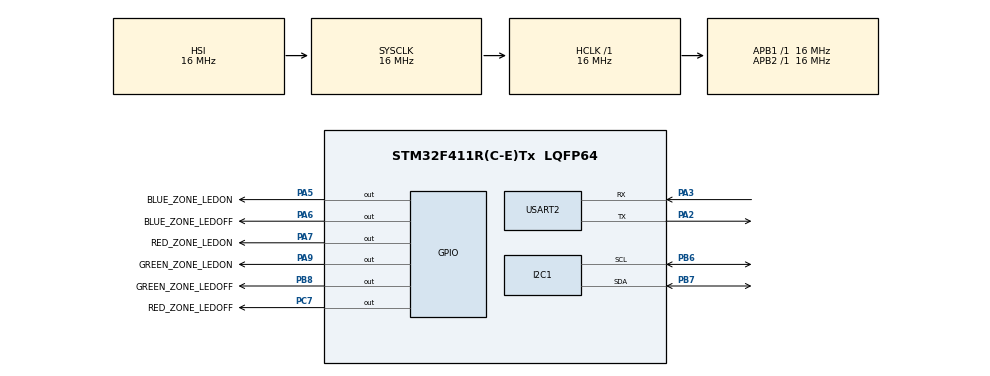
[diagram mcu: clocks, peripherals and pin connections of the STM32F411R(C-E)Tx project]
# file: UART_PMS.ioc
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I2C1.AddressingMode=I2C_ADDRESSINGMODE_7BIT
I2C1.I2C_Mode=I2C_Fast
I2C1.OwnAddress=0x0
Mcu.Family=STM32F4
Mcu.Name=STM32F411R(C-E)Tx
Mcu.Package=LQFP64
NVIC.PriorityGroup=NVIC_PRIORITYGROUP_4
NVIC.USART2_IRQn=true\:0\:0\:false\:false\:true\:true\:true\:true
PA2.Mode=Asynchronous
PA2.Signal=USART2_TX
PA3.Mode=Asynchronous
PA3.Signal=USART2_RX
PA5.GPIO_Label=BLUE_ZONE_LEDON
PA5.Signal=GPIO_Output
PA6.GPIO_Label=BLUE_ZONE_LEDOFF
PA6.Signal=GPIO_Output
PA7.GPIO_Label=RED_ZONE_LEDON
PA7.Signal=GPIO_Output
PA9.GPIO_Label=GREEN_ZONE_LEDON
PA9.Signal=GPIO_Output
PB6.GPIO_Pu=GPIO_PULLUP
PB6.Mode=I2C
PB6.Signal=I2C1_SCL
PB7.GPIO_Pu=GPIO_PULLUP
PB7.Mode=I2C
PB7.Signal=I2C1_SDA
PB8.GPIO_Label=GREEN_ZONE_LEDOFF
PB8.Signal=GPIO_Output
PC14-OSC32_IN.Signal=RCC_OSC32_IN
PC15-OSC32_OUT.Signal=RCC_OSC32_OUT
PC7.GPIO_Label=RED_ZONE_LEDOFF
PC7.Signal=GPIO_Output
PH0\ -\ OSC_IN.Signal=RCC_OSC_IN
PH1\ -\ OSC_OUT.Signal=RCC_OSC_OUT
ProjectManager.HeapSize=0x200
ProjectManager.StackSize=0x400
ProjectManager.TargetToolchain=STM32CubeIDE
RCC.AHBFreq_Value=16000000
RCC.APB1Freq_Value=16000000
RCC.APB2Freq_Value=16000000
RCC.CortexFreq_Value=16000000
RCC.HSE_VALUE=25000000
RCC.HSI_VALUE=16000000
RCC.LSE_VALUE=32768
RCC.SYSCLKFreq_VALUE=16000000
RCC.VCOOutputFreq_Value=192000000
TIM2.Period=999
TIM2.Prescaler=15999
USART2.VirtualMode=VM_ASYNC
VP_TIM2_VS_ClockSourceINT.Mode=Internal
board=custom

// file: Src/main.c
/* USER CODE BEGIN Header */
/**
 ******************************************************************************
 * @file           : main.c
 * @brief          : Main program body
 ******************************************************************************
 * @attention
 *
 * <h2><center>&copy; Copyright (c) 2024 STMicroelectronics.
 * All rights reserved.</center></h2>
 *
 * This software component is licensed by ST under BSD 3-Clause license,
 * the "License"; You may not use this file except in compliance with the
 * License. You may obtain a copy of the License at:
 *                        opensource.org/licenses/BSD-3-Clause
 *
 ******************************************************************************
 */
/* USER CODE END Header */

#include "main.h"
#include "i2c.h"
#include "tim.h"
#include "usart.h"
#include "gpio.h"

/* USER CODE BEGIN Includes */
#include "ssd1306.h"
#include "ssd1306_tests.h"
#include "ssd1306_fonts.h"
/* USER CODE END Includes */

/* USER CODE BEGIN PV */

/* Declare variables for UART data handling */

volatile char rx_data[1] = { 0 };
uint8_t rx_index = 0;
uint8_t led_on = 0;
volatile uint32_t led_on_time = 0;

#define BUFFER_SIZE 8

/* Define a circular buffer structure */

typedef struct {
	char buffer[BUFFER_SIZE];
	uint8_t head;
	uint8_t tail;
	uint8_t count;
} CircularBuffer;

CircularBuffer rx_buffer = { .head = 0, .tail = 0, .count = 0 };

/* Bitmap data for a car image (used with the display) */
// 'car', 102x42px
const unsigned char epd_bitmap_car[] = { 0xff, 0xff, 0xff, 0xff, 0xff, 0xff,
		0xc0, 0x03, 0xff, 0xff, 0xff, 0xff, 0xfc, 0xff, 0xff, 0xff, 0xff, 0xff,
		0xfc, 0x00, 0x00, 0x1f, 0xff, 0xff, 0xff, 0xfc, 0xff, 0xff, 0xff, 0xff,
		0xff, 0xf0, 0x00, 0x00, 0x00, 0xff, 0xff, 0xff, 0xfc, 0xff, 0xff, 0xff,
		0xff, 0xff, 0xe0, 0x00, 0x00, 0x80, 0x1f, 0xff, 0xff, 0xfc, 0xff, 0xff,
		0xff, 0xff, 0xff, 0x84, 0x00, 0x00, 0x00, 0x03, 0xff, 0xff, 0xfc, 0xff,
		0xff, 0xff, 0xff, 0xfe, 0x00, 0xff, 0xfe, 0x00, 0x00, 0x7f, 0xff, 0xfc,
		0xff, 0xff, 0xff, 0xff, 0xf8, 0x01, 0xff, 0xfe, 0x70, 0x04, 0x0f, 0xff,
		0xfc, 0xff, 0xff, 0xff, 0xff, 0xe0, 0x07, 0xff, 0xfe, 0x7f, 0x01, 0x01,
		0xff, 0xfc, 0xff, 0xff, 0xff, 0xff, 0x80, 0x1f, 0xff, 0xfc, 0x7f, 0xf0,
		0xe0, 0x3f, 0xfc, 0xff, 0xff, 0xff, 0xf8, 0x00, 0x3c, 0x00, 0xfc, 0x80,
		0x38, 0xf8, 0x0f, 0xfc, 0xff, 0xff, 0xf8, 0x00, 0x10, 0x00, 0x00, 0x00,
		0x00, 0x00, 0xff, 0x03, 0xfc, 0xff, 0xe0, 0x00, 0x00, 0x60, 0x00, 0x00,
		0x00, 0x00, 0x01, 0xff, 0xc0, 0xfc, 0xff, 0x00, 0x00, 0xff, 0xe3, 0xff,
		0xff, 0xfe, 0x3f, 0xff, 0xff, 0x80, 0x7c, 0xfe, 0x03, 0xff, 0xff, 0xf3,
		0xff, 0xff, 0xff, 0x3f, 0xff, 0xff, 0x00, 0x3c, 0xfc, 0x07, 0xff, 0xff,
		0xf3, 0xff, 0xff, 0xff, 0x3f, 0xff, 0xff, 0x9f, 0x1c, 0xe0, 0xcf, 0xe0,
		0xff, 0xf3, 0xff, 0xff, 0xf1, 0x3f, 0xe0, 0x7f, 0x87, 0x8c, 0x81, 0x8f,
		0x00, 0x1f, 0xf3, 0xff, 0xff, 0xf1, 0x3f, 0x80, 0x1f, 0xc0, 0xcc, 0x09,
		0x1e, 0x00, 0x0f, 0xf3, 0xff, 0xff, 0xfe, 0x3e, 0x00, 0x0f, 0xf0, 0x04,
		0x00, 0x1c, 0x00, 0x07, 0xf3, 0xff, 0xff, 0xfc, 0x7c, 0x00, 0x07, 0xfc,
		0x04, 0x00, 0x78, 0x80, 0x23, 0xf3, 0xff, 0xff, 0xfc, 0x7c, 0x00, 0x03,
		0xff, 0xe4, 0x23, 0xf1, 0x00, 0x13, 0xf3, 0xff, 0xff, 0xf8, 0xf9, 0x00,
		0x01, 0xff, 0xe4, 0x00, 0xf2, 0x0e, 0x01, 0xe3, 0xff, 0xff, 0xf9, 0xf0,
		0x0e, 0x09, 0xff, 0xe4, 0x00, 0xe0, 0x31, 0x89, 0xe3, 0xff, 0xff, 0xf1,
		0xf2, 0x19, 0x80, 0xff, 0xe4, 0x01, 0xe0, 0x20, 0x81, 0xe3, 0xff, 0xff,
		0xe3, 0xf2, 0x20, 0xc4, 0xff, 0xe4, 0x3f, 0xe4, 0x40, 0xc0, 0xe3, 0xff,
		0xff, 0xc7, 0xe0, 0x20, 0x40, 0xff, 0xc4, 0x1f, 0xe4, 0x40, 0x40, 0xe3,
		0xff, 0xff, 0x8f, 0xe0, 0x60, 0x64, 0xf8, 0x04, 0x01, 0xe4, 0x40, 0xc0,
		0xe3, 0xff, 0xff, 0x9f, 0xe0, 0x20, 0x44, 0x80, 0x0c, 0x80, 0x04, 0x20,
		0x80, 0xe3, 0xff, 0xff, 0x1f, 0xe2, 0x20, 0xc4, 0x01, 0xfc, 0xf8, 0x06,
		0x11, 0x08, 0x00, 0x00, 0x00, 0x00, 0x02, 0x19, 0x84, 0x1f, 0xfc, 0xff,
		0xfe, 0x0e, 0x08, 0x00, 0x00, 0x00, 0x00, 0x02, 0x0e, 0x0f, 0xff, 0xfc,
		0xff, 0xff, 0x00, 0x1c, 0x00, 0x00, 0x00, 0x80, 0x07, 0x00, 0x1f, 0xff,
		0xfc, 0xff, 0xff, 0x80, 0x3f, 0xff, 0xff, 0xff, 0xff, 0xff, 0x80, 0x3f,
		0xff, 0xfc, 0xff, 0xff, 0xe0, 0xff, 0xff, 0xff, 0xff, 0xff, 0xff, 0xe0,
		0x7f, 0xff, 0xfc, 0xff, 0xff, 0xff, 0xff, 0xff, 0xff, 0xff, 0xff, 0xff,
		0xff, 0xff, 0xff, 0xfc, 0x00, 0x00, 0x00, 0x00, 0x00, 0x00, 0x00, 0x00,
		0x00, 0x00, 0x00, 0x00, 0x00, 0x00, 0x00, 0x00, 0x00, 0x00, 0x00, 0x00,
		0x00, 0x00, 0x00, 0x00, 0x00, 0x00, 0x00, 0x00, 0x00, 0x00, 0x00, 0x00,
		0x00, 0x00, 0x00, 0x00, 0x00, 0x00, 0x00, 0x00, 0x00, 0x00, 0x00, 0x00,
		0x00, 0x00, 0x00, 0x00, 0x00, 0x00, 0x00, 0x00, 0x00, 0x00, 0x00, 0x00,
		0x00, 0x00, 0x00, 0x00, 0x00, 0x00, 0x00, 0x00, 0x00, 0x00, 0x00, 0x00,
		0x00, 0x00, 0x00, 0x00, 0x00, 0x00, 0x00, 0x00, 0x00, 0x00, 0x00, 0x00,
		0x00, 0x00, 0x00, 0x00, 0x00, 0x00, 0x00, 0x00, 0x00, 0x00, 0x00, 0x00,
		0x00, 0x00, 0x00, 0x00, 0x00, 0x00, 0x00, 0x00, 0x00, 0x00, 0x00, 0x00,
		0x00, 0x00, 0x00, 0x00, 0x00, 0x00, 0x00, 0x00, 0x00, 0x00, 0x00, 0x00,
		0x00, 0x00, 0x00, 0x00, 0x00, 0x00, 0x00, 0x00, 0x00, 0x00, 0x00, 0x00,
		0x00, 0x00, 0x00, 0x00, 0x00, 0x00, 0x00, 0x00, 0x00, 0x00, 0x00, 0x00,
		0x00, 0x00, 0x00, 0x00, 0x00, 0x00, 0x00, 0x00, 0x00, 0x00, 0x00, 0x00,
		0x00, 0x00, 0x00, 0x00, 0x00, 0x00, 0x00, 0x00, 0x00, 0x00, 0x00, 0x00,
		0x00, 0x00, 0x00, 0x00, 0x00, 0x00, 0x00, 0x00, 0x00, 0x00, 0x00, 0x00,
		0x00, 0x00, 0x00, 0x00, 0x00, 0x00, 0x00, 0x00, 0x00, 0x00, 0x00, 0x00,
		0x00, 0x00, 0x00, 0x00, 0x00, 0x00, 0x00, 0x00, 0x00, 0x00, 0x00, 0x00,
		0x00, 0x00, 0x00, 0x00, 0x00, 0x00, 0x00, 0x00, 0x00, 0x00, 0x00, 0x00,
		0x00, 0x00, 0x00, 0x00, 0x00, 0x00, 0x00, 0x00, 0x00, 0x00, 0x00, 0x00,
		0x00, 0x00, 0x00, 0x00, 0x00, 0x00, 0x00, 0x00, 0x00, 0x00, 0x00, 0x00,
		0x00, 0x00, 0x00, 0x00, 0x00, 0x00, 0x00, 0x00, 0x00, 0x00, 0x00, 0x00,
		0x00, 0x00, 0x00, 0x00, 0x00, 0x00, 0x00, 0x00, 0x00, 0x00, 0x00, 0x00,
		0x00, 0x00, 0x00, 0x00, 0x00, 0x00, 0x00, 0x00, 0x00, 0x00, 0x00, 0x00,
		0x00, 0x00, 0x00, 0x00, 0x00, 0x00, 0x00, 0x00, 0x00, 0x00, 0x00, 0x00,
		0x00, 0x00, 0x00, 0x00, 0x00, 0x00, 0x00, 0x00, 0x00, 0x00, 0x00, 0x00,
		0x00, 0x00, 0x00, 0x00, 0x00, 0x00, 0x00, 0x00, 0x00, 0x00, 0x00, 0x00,
		0x00, 0x00, 0x00, 0x00, 0x00, 0x00, 0x00, 0x00, 0x00, 0x00, 0x00, 0x00,
		0x00, 0x00, 0x00, 0x00, 0x00, 0x00, 0x00, 0x00, 0x00, 0x00, 0x00, 0x00,
		0x00, 0x00, 0x00, 0x00, 0x00, 0x00, 0x00, 0x00, 0x00, 0x00, 0x00, 0x00,
		0x00, 0x00, 0x00, 0x00, 0x00, 0x00, 0x00, 0x00, 0x00, 0x00, 0x00, 0x00,
		0x00, 0x00, 0x00, 0x00, 0x00, 0x00, 0x00, 0x00, 0x00, 0x00, 0x00, 0x00,
		0x00, 0x00, 0x00, 0x00, 0x00, 0x00, 0x00, 0x00, 0x00, 0x00, 0x00, 0x00,
		0x00, 0x00, 0x00, 0x00, 0x00, 0x00, 0x00, 0x00, 0x00, 0x00 };

/* Display const */

#define BITMAP_X 15
#define BITMAP_Y 30
#define BITMAP_WIDTH 102
#define BITMAP_HEIGHT 64

#define CURSOR_TITLE_X 7
#define CURSOR_TITLE_Y 0
#define CURSOR_GREEN_X 26
#define CURSOR_GREEN_Y 25
#define CURSOR_BLUE_X 34
#define CURSOR_BLUE_Y 25
#define CURSOR_RED_X 38
#define CURSOR_RED_Y 25

#define FONT_SYSTEM_SIZE Font_6x8
#define FONT_NOTIFICATION_TITLE Font_7x10
#define FONT_ZONE_NAME Font_16x26

/* USER CODE END PV */

void SystemClock_Config(void);

/* USER CODE BEGIN 0 */

uint8_t TIME_CONDITION()
{
	return (HAL_GetTick() - led_on_time >= 5000);
}

uint8_t LED_ON_CONDITION() {
	return led_on > 0 && (TIME_CONDITION());
}

// Adds a character to the circular buffer if space is available

void buffer_push(CircularBuffer *cb, char data) {
	if (cb->count < BUFFER_SIZE) {
		cb->buffer[cb->head] = data;
		cb->head = (cb->head + 1) % BUFFER_SIZE;
		cb->count++;
	}
}

// Removes and returns a character from the circular buffer

char buffer_pop(CircularBuffer *cb) {
	if (cb->count > 0) {
		char data = cb->buffer[cb->tail];
		cb->tail = (cb->tail + 1) % BUFFER_SIZE;
		cb->count--;
		return data;
	}
	return 0;
}

// Returns the number of characters in the circular buffer

uint8_t buffer_available(CircularBuffer *cb) {
	return cb->count;
}

void DEFAULT_SCREEN() {
    ssd1306_Fill(Black);
    ssd1306_DrawBitmap(BITMAP_X, BITMAP_Y, epd_bitmap_car, BITMAP_WIDTH, BITMAP_HEIGHT, White);
    ssd1306_SetCursor(10, 0);
    ssd1306_WriteString("Parking Managament System", FONT_SYSTEM_SIZE, White);
    ssd1306_SetCursor(50, 9);
    ssd1306_WriteString("System", FONT_SYSTEM_SIZE, White);
    ssd1306_UpdateScreen();
    HAL_GPIO_WritePin(GREEN_ZONE_LEDOFF_GPIO_Port, GREEN_ZONE_LEDOFF_Pin, GPIO_PIN_SET);
    HAL_GPIO_WritePin(BLUE_ZONE_LEDOFF_GPIO_Port, BLUE_ZONE_LEDOFF_Pin, GPIO_PIN_SET);
    HAL_GPIO_WritePin(RED_ZONE_LEDOFF_GPIO_Port, RED_ZONE_LEDOFF_Pin, GPIO_PIN_SET);
}

void GREEN_ZONE_NOTIFICATION_ENTRY() {
    ssd1306_Fill(Black);
    ssd1306_SetCursor(CURSOR_TITLE_X, CURSOR_TITLE_Y);
    ssd1306_WriteString("Dostep do strefy:", FONT_NOTIFICATION_TITLE, White);
    ssd1306_SetCursor(CURSOR_GREEN_X, CURSOR_GREEN_Y);
    ssd1306_WriteString("GREEN", FONT_ZONE_NAME, White);
    ssd1306_UpdateScreen();
}

void GREEN_ZONE_NOTIFICATION_NO_ENTRY() {
    ssd1306_Fill(Black);
    ssd1306_SetCursor(CURSOR_TITLE_X, CURSOR_TITLE_Y);
    ssd1306_WriteString("ZAKAZ do strefy:", FONT_NOTIFICATION_TITLE, White);
    ssd1306_SetCursor(CURSOR_GREEN_X, CURSOR_GREEN_Y);
    ssd1306_WriteString("GREEN", FONT_ZONE_NAME, White);
    ssd1306_UpdateScreen();
}

void BLUE_ZONE_NOTIFICATION_NO_ENTRY() {
    ssd1306_Fill(Black);
    ssd1306_SetCursor(CURSOR_TITLE_X, CURSOR_TITLE_Y);
    ssd1306_WriteString("ZAKAZ do strefy:", FONT_NOTIFICATION_TITLE, White);
    ssd1306_SetCursor(CURSOR_BLUE_X, CURSOR_BLUE_Y);
    ssd1306_WriteString("BLUE", FONT_ZONE_NAME, White);
    ssd1306_UpdateScreen();
}

void RED_ZONE_NOTIFICATION_NO_ENTRY() {
    ssd1306_Fill(Black);
    ssd1306_SetCursor(CURSOR_TITLE_X, CURSOR_TITLE_Y);
    ssd1306_WriteString("ZAKAZ do strefy:", FONT_NOTIFICATION_TITLE, White);
    ssd1306_SetCursor(CURSOR_RED_X, CURSOR_RED_Y);
    ssd1306_WriteString("RED", FONT_ZONE_NAME, White);
    ssd1306_UpdateScreen();
}

void BLUE_ZONE_NOTIFICATION_ENTRY() {
    ssd1306_Fill(Black);
    ssd1306_SetCursor(CURSOR_TITLE_X, CURSOR_TITLE_Y);
    ssd1306_WriteString("Dostep do strefy:", FONT_NOTIFICATION_TITLE, White);
    ssd1306_SetCursor(CURSOR_BLUE_X, CURSOR_BLUE_Y);
    ssd1306_WriteString("BLUE", FONT_ZONE_NAME, White);
    ssd1306_UpdateScreen();
}

void RED_ZONE_NOTIFICATION_ENTRY() {
    ssd1306_Fill(Black);
    ssd1306_SetCursor(CURSOR_TITLE_X, CURSOR_TITLE_Y);
    ssd1306_WriteString("Dostep do strefy:", FONT_NOTIFICATION_TITLE, White);
    ssd1306_SetCursor(CURSOR_RED_X, CURSOR_RED_Y);
    ssd1306_WriteString("RED", FONT_ZONE_NAME, White);
    ssd1306_UpdateScreen();
}

void GREEN_ZONE_LED() {
	GREEN_ZONE_NOTIFICATION_ENTRY();
	HAL_GPIO_WritePin(GREEN_ZONE_LEDON_GPIO_Port, GREEN_ZONE_LEDON_Pin,
			GPIO_PIN_SET);
	HAL_GPIO_WritePin(GREEN_ZONE_LEDOFF_GPIO_Port, GREEN_ZONE_LEDOFF_Pin,
			GPIO_PIN_RESET);
	led_on = 1;
	led_on_time = HAL_GetTick();

}

void GREEN_ZONE_LED_ON() {
	HAL_GPIO_WritePin(GREEN_ZONE_LEDON_GPIO_Port,
	GREEN_ZONE_LEDON_Pin, GPIO_PIN_RESET);
	HAL_GPIO_WritePin(GREEN_ZONE_LEDOFF_GPIO_Port,
	GREEN_ZONE_LEDOFF_Pin, GPIO_PIN_SET);
	DEFAULT_SCREEN();
}

void BLUE_ZONE_LED() {
	BLUE_ZONE_NOTIFICATION_ENTRY();
	HAL_GPIO_WritePin(BLUE_ZONE_LEDON_GPIO_Port, BLUE_ZONE_LEDON_Pin,
			GPIO_PIN_SET);
	HAL_GPIO_WritePin(BLUE_ZONE_LEDOFF_GPIO_Port, BLUE_ZONE_LEDOFF_Pin,
			GPIO_PIN_RESET);
	led_on = 2;
	led_on_time = HAL_GetTick();
}

void BLUE_ZONE_LED_ON() {
	HAL_GPIO_WritePin(BLUE_ZONE_LEDON_GPIO_Port,
	BLUE_ZONE_LEDON_Pin, GPIO_PIN_RESET);
	HAL_GPIO_WritePin(BLUE_ZONE_LEDOFF_GPIO_Port,
	BLUE_ZONE_LEDOFF_Pin, GPIO_PIN_SET);
	DEFAULT_SCREEN();
}

void RED_ZONE_LED() {
	RED_ZONE_NOTIFICATION_ENTRY();
	HAL_GPIO_WritePin(RED_ZONE_LEDON_GPIO_Port, RED_ZONE_LEDON_Pin,
			GPIO_PIN_SET);
	HAL_GPIO_WritePin(RED_ZONE_LEDOFF_GPIO_Port, RED_ZONE_LEDOFF_Pin,
			GPIO_PIN_RESET);
	led_on = 3;
	led_on_time = HAL_GetTick();
}

void RED_ZONE_LED_ON() {
	HAL_GPIO_WritePin(RED_ZONE_LEDON_GPIO_Port, RED_ZONE_LEDON_Pin,
			GPIO_PIN_RESET);
	HAL_GPIO_WritePin(RED_ZONE_LEDOFF_GPIO_Port,
	RED_ZONE_LEDOFF_Pin, GPIO_PIN_SET);
	DEFAULT_SCREEN();
}

void GREEN_ZONE_NO_ENTRY() {
	GREEN_ZONE_NOTIFICATION_NO_ENTRY();
	led_on = 4;
	led_on_time = HAL_GetTick();
}

void GREEN_ZONE_LED_NO_ENTRY() {
	HAL_GPIO_WritePin(GREEN_ZONE_LEDON_GPIO_Port,
	GREEN_ZONE_LEDON_Pin, GPIO_PIN_RESET);
	HAL_GPIO_WritePin(GREEN_ZONE_LEDOFF_GPIO_Port,
	GREEN_ZONE_LEDOFF_Pin, GPIO_PIN_SET);
	DEFAULT_SCREEN();
}

void BLUE_ZONE_NO_ENTRY() {
	BLUE_ZONE_NOTIFICATION_NO_ENTRY();
	led_on = 5;
	led_on_time = HAL_GetTick();
}

void BLUE_ZONE_LED_NO_ENTRY() {
	HAL_GPIO_WritePin(BLUE_ZONE_LEDON_GPIO_Port,
	BLUE_ZONE_LEDON_Pin, GPIO_PIN_RESET);
	HAL_GPIO_WritePin(BLUE_ZONE_LEDOFF_GPIO_Port,
	BLUE_ZONE_LEDOFF_Pin, GPIO_PIN_SET);
	DEFAULT_SCREEN();
}

void RED_ZONE_NO_ENTRY() {
	RED_ZONE_NOTIFICATION_NO_ENTRY();
	led_on = 6;
	led_on_time = HAL_GetTick();
}

void RED_ZONE_LED_NO_ENTRY() {
	HAL_GPIO_WritePin(RED_ZONE_LEDON_GPIO_Port, RED_ZONE_LEDON_Pin,
			GPIO_PIN_RESET);
	HAL_GPIO_WritePin(RED_ZONE_LEDOFF_GPIO_Port,
	RED_ZONE_LEDOFF_Pin, GPIO_PIN_SET);
	DEFAULT_SCREEN();
}

/* Function to process the received command */

void process_command(void) {

	while (buffer_available(&rx_buffer) >= 2) {
		char command[3] = { 0 };
		command[0] = buffer_pop(&rx_buffer);
		command[1] = buffer_pop(&rx_buffer);

		if (strlen(command) == 2 && TIME_CONDITION()) {
			if (strcmp(command, "11") == 0) {
				GREEN_ZONE_LED();
			} else if (strcmp(command, "21") == 0) {
				BLUE_ZONE_LED();
			} else if (strcmp(command, "31") == 0) {
				RED_ZONE_LED();
			} else if (strcmp(command, "10") == 0) {
				GREEN_ZONE_NO_ENTRY();
			} else if (strcmp(command, "20") == 0) {
				BLUE_ZONE_NO_ENTRY();
			} else if (strcmp(command, "30") == 0) {
				RED_ZONE_NO_ENTRY();
			}

		}
	}

}

/* Function to process UART transmission */

void UART_TransmitInit() {
	char message[] = "Init MSG\r\n";
	HAL_UART_Transmit(&huart2, (uint8_t*) message, strlen(message), 1000);
}

void HAL_UART_RxCpltCallback(UART_HandleTypeDef *huart) {
	if (huart->Instance == USART2) {
		buffer_push(&rx_buffer, rx_data[0]);
		HAL_UART_Receive_IT(&huart2, (uint8_t *) rx_data, 1);
	}
}

/* USER CODE END 0 */

int main(void) {

	/* MCU Configuration--------------------------------------------------------*/

	/* Reset of all peripherals, Initializes the Flash interface and the Systick. */
	HAL_Init();

	/* Configure the system clock */
	SystemClock_Config();

	/* Initialize all configured peripherals */
	MX_GPIO_Init();
	MX_USART2_UART_Init();
	MX_TIM2_Init();
	MX_I2C1_Init();
	/* USER CODE BEGIN 2 */
	UART_TransmitInit();
	HAL_UART_Receive_IT(&huart2, (uint8_t *) rx_data, 1);
	ssd1306_Init();
	DEFAULT_SCREEN();

	/* USER CODE END 2 */

	/* Infinite loop */
	/* USER CODE BEGIN WHILE */
	while (1) {

		process_command();
		if (LED_ON_CONDITION()) {
			switch (led_on) {
			case 1:
				GREEN_ZONE_LED_ON();
				break;
			case 2:
				BLUE_ZONE_LED_ON();
				break;
			case 3:
				RED_ZONE_LED_ON();
				break;
			case 4:
				GREEN_ZONE_LED_NO_ENTRY();
				break;
			case 5:
				BLUE_ZONE_LED_NO_ENTRY();
				break;
			case 6:
				RED_ZONE_LED_NO_ENTRY();
				break;
			}
			led_on = 0;

		}
		/* USER CODE END WHILE */

	}
}

void SystemClock_Config(void) {
	RCC_OscInitTypeDef RCC_OscInitStruct = { 0 };
	RCC_ClkInitTypeDef RCC_ClkInitStruct = { 0 };

	/** Configure the main internal regulator output voltage
	 */
	__HAL_RCC_PWR_CLK_ENABLE()
	;
	__HAL_PWR_VOLTAGESCALING_CONFIG(PWR_REGULATOR_VOLTAGE_SCALE1);
	/** Initializes the CPU, AHB and APB busses clocks
	 */
	RCC_OscInitStruct.OscillatorType = RCC_OSCILLATORTYPE_HSI;
	RCC_OscInitStruct.HSIState = RCC_HSI_ON;
	RCC_OscInitStruct.HSICalibrationValue = RCC_HSICALIBRATION_DEFAULT;
	RCC_OscInitStruct.PLL.PLLState = RCC_PLL_NONE;
	if (HAL_RCC_OscConfig(&RCC_OscInitStruct) != HAL_OK) {
		Error_Handler();
	}
	/** Initializes the CPU, AHB and APB busses clocks
	 */
	RCC_ClkInitStruct.ClockType = RCC_CLOCKTYPE_HCLK | RCC_CLOCKTYPE_SYSCLK
			| RCC_CLOCKTYPE_PCLK1 | RCC_CLOCKTYPE_PCLK2;
	RCC_ClkInitStruct.SYSCLKSource = RCC_SYSCLKSOURCE_HSI;
	RCC_ClkInitStruct.AHBCLKDivider = RCC_SYSCLK_DIV1;
	RCC_ClkInitStruct.APB1CLKDivider = RCC_HCLK_DIV1;
	RCC_ClkInitStruct.APB2CLKDivider = RCC_HCLK_DIV1;

	if (HAL_RCC_ClockConfig(&RCC_ClkInitStruct, FLASH_LATENCY_0) != HAL_OK) {
		Error_Handler();
	}
}

void Error_Handler(void) {
}

/************************ (C) COPYRIGHT STMicroelectronics *****END OF FILE****/
